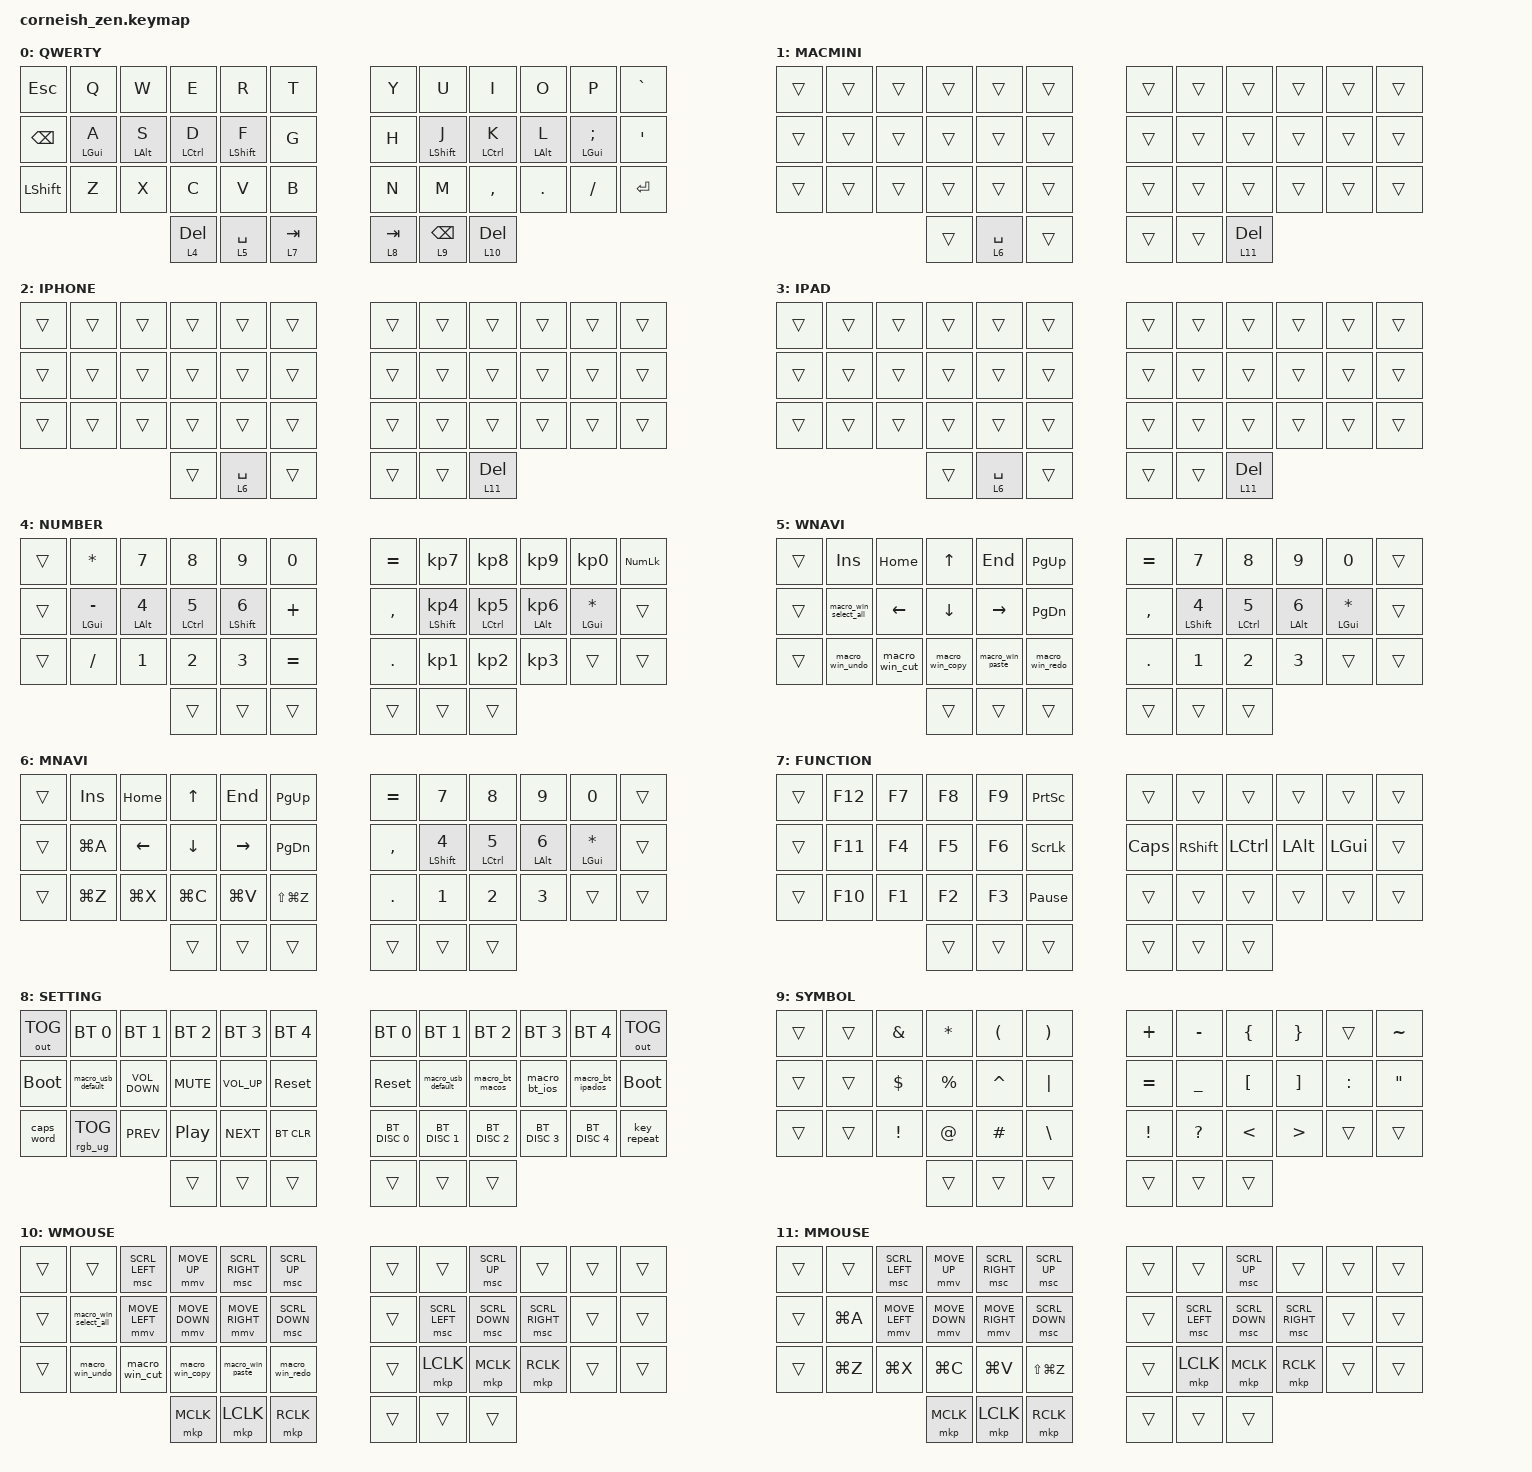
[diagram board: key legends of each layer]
#define ZMK_POINTING_DEFAULT_MOVE_VAL 4200  // default: 600
#define ZMK_POINTING_DEFAULT_SCRL_VAL 30    // default: 10

#include <input/processors.dtsi>
#include <behaviors.dtsi>
#include <dt-bindings/zmk/bt.h>
#include <dt-bindings/zmk/keys.h>
#include <dt-bindings/zmk/outputs.h>
#include <dt-bindings/zmk/pointing.h>
#include <dt-bindings/zmk/rgb.h>

#define COMBO_DEFAULT_TIMEOUT_MS 15
#define COMBO_QUICK_TIMEOUT_MS 10
#define COMBO_PRIOR_IDLE_MS 125

&mmv {
    acceleration-exponent = <1>;      // 1
    time-to-max-speed-ms = <500>;     // 300
    delay-ms = <0>;                   // 0
};

&msc {
    acceleration-exponent = <1>;      // 0
    time-to-max-speed-ms = <40>;      // 300
    delay-ms = <0>;                   // 0
};

/ {
    behaviors {
        ltkp: ltkp {
            compatible = "zmk,behavior-hold-tap";
            #binding-cells = <2>;
            bindings = <&mo>, <&kp>;

            flavor = "tap-preferred";
            tapping-term-ms = <300>;
            quick-tap-ms = <300>;
            require-prior-idle-ms = <125>;
        };

        hrml: hrml {
            compatible = "zmk,behavior-hold-tap";
            bindings = <&kp>, <&kp>;

            #binding-cells = <2>;
            tapping-term-ms = <250>;
            flavor = "tap-preferred";
            hold-trigger-key-positions = <6 7 8 9 10 11 18 19 20 21 22 23 30 31 32 33 34 35 39 40 41>;
            quick-tap-ms = <175>;
            require-prior-idle-ms = <150>;
            hold-trigger-on-release;
        };

        hrmr: hrmr {
            compatible = "zmk,behavior-hold-tap";
            bindings = <&kp>, <&kp>;

            #binding-cells = <2>;
            tapping-term-ms = <250>;
            flavor = "balanced";
            quick-tap-ms = <175>;
            require-prior-idle-ms = <150>;
            hold-trigger-on-release;
            hold-trigger-key-positions = <0 1 2 3 4 5 12 13 14 15 16 17 24 25 26 27 28 29 36 37 38>;
        };
    };

    combos {
        compatible = "zmk,combos";

        combo_mouse {
            bindings = <&tog 10>;
            key-positions = <0 24>;
            timeout-ms = <COMBO_DEFAULT_TIMEOUT_MS>;
            require-prior-idle-ms = <COMBO_PRIOR_IDLE_MS>;
        };

        combo_settings {
            bindings = <&tog 8>;
            key-positions = <5 29>;
            timeout-ms = <COMBO_DEFAULT_TIMEOUT_MS>;
            require-prior-idle-ms = <COMBO_PRIOR_IDLE_MS>;
        };

        combo_enter {
            bindings = <&kp ENTER>;
            key-positions = <15 16>;
            timeout-ms = <COMBO_DEFAULT_TIMEOUT_MS>;
            require-prior-idle-ms = <COMBO_PRIOR_IDLE_MS>;
        };

        combo_less_than {
            bindings = <&kp LT>;
            key-positions = <26 27>;
            timeout-ms = <COMBO_DEFAULT_TIMEOUT_MS>;
            require-prior-idle-ms = <COMBO_PRIOR_IDLE_MS>;
        };

        combo_greater_than {
            bindings = <&kp GT>;
            key-positions = <27 28>;
            timeout-ms = <COMBO_DEFAULT_TIMEOUT_MS>;
            require-prior-idle-ms = <COMBO_PRIOR_IDLE_MS>;
        };
    };

    macros {
        macro_usb_default: macro_usb_default {
            compatible = "zmk,behavior-macro";
            #binding-cells = <0>;
            bindings = <&to 0 &bt BT_SEL 0 &out OUT_USB>;
        };

        macro_bt_macos: macro_bt_macos {
            compatible = "zmk,behavior-macro";
            #binding-cells = <0>;
            bindings = <&to 0 &tog 1 &bt BT_SEL 2 &out OUT_BLE>;
        };

        macro_bt_ios: macro_bt_ios {
            compatible = "zmk,behavior-macro";
            #binding-cells = <0>;
            bindings = <&to 0 &tog 2 &bt BT_SEL 3 &out OUT_BLE>;
        };

        macro_bt_ipados: macro_bt_ipados {
            compatible = "zmk,behavior-macro";
            #binding-cells = <0>;
            bindings = <&to 0 &tog 3 &bt BT_SEL 4 &out OUT_BLE>;
        };

        macro_win_select_all: macro_win_select_all {
            compatible = "zmk,behavior-macro";
            #binding-cells = <0>;
            bindings =
                <&macro_press>,
                <&kp LCTRL>,
                <&macro_tap>,
                <&kp A>,
                <&macro_release>,
                <&kp LCTRL>;
        };

        macro_win_undo: macro_win_undo {
            compatible = "zmk,behavior-macro";
            #binding-cells = <0>;
            bindings =
                <&macro_press>,
                <&kp LCTRL>,
                <&macro_tap>,
                <&kp Z>,
                <&macro_release>,
                <&kp LCTRL>;
        };

        macro_win_cut: macro_win_cut {
            compatible = "zmk,behavior-macro";
            #binding-cells = <0>;
            bindings =
                <&macro_press>,
                <&kp LCTRL>,
                <&macro_tap>,
                <&kp X>,
                <&macro_release>,
                <&kp LCTRL>;
        };

        macro_win_copy: macro_win_copy {
            compatible = "zmk,behavior-macro";
            #binding-cells = <0>;
            bindings =
                <&macro_press>,
                <&kp LCTRL>,
                <&macro_tap>,
                <&kp C>,
                <&macro_release>,
                <&kp LCTRL>;
        };

        macro_win_paste: macro_win_paste {
            compatible = "zmk,behavior-macro";
            #binding-cells = <0>;
            bindings =
                <&macro_press>,
                <&kp LCTRL>,
                <&macro_tap>,
                <&kp V>,
                <&macro_release>,
                <&kp LCTRL>;
        };

        macro_win_redo: macro_win_redo {
            compatible = "zmk,behavior-macro";
            #binding-cells = <0>;
            bindings =
                <&macro_press>,
                <&kp LCTRL>,
                <&macro_tap>,
                <&kp Y>,
                <&macro_release>,
                <&kp LCTRL>;
        };
    };

    keymap {
        compatible = "zmk,keymap";

        win_base_layer {
            bindings = <
&kp ESC    &kp Q         &kp W         &kp E          &kp R          &kp T          &kp Y        &kp U          &kp I          &kp O         &kp P            &kp GRAVE
&kp BSPC   &hrml LGUI A  &hrml LALT S  &hrml LCTRL D  &hrml LSHFT F  &kp G          &kp H        &hrmr LSHFT J  &hrmr LCTRL K  &hrmr LALT L  &hrmr LGUI SEMI  &kp APOS
&kp LSHFT  &kp Z         &kp X         &kp C          &kp V          &kp B          &kp N        &kp M          &kp COMMA      &kp DOT       &kp FSLH         &kp ENTER
                                       &ltkp 4 DEL    &ltkp 5 SPACE  &ltkp 7 TAB    &ltkp 8 TAB  &ltkp 9 BSPC   &ltkp 10 DEL
            >;

            display-name = "QWERTY";
        };

        mac_base_layer {
            bindings = <
&trans  &trans  &trans  &trans  &trans         &trans    &trans  &trans  &trans        &trans  &trans  &trans
&trans  &trans  &trans  &trans  &trans         &trans    &trans  &trans  &trans        &trans  &trans  &trans
&trans  &trans  &trans  &trans  &trans         &trans    &trans  &trans  &trans        &trans  &trans  &trans
                        &trans  &ltkp 6 SPACE  &trans    &trans  &trans  &ltkp 11 DEL
            >;

            display-name = "MACMINI";
        };

        iphone_base_layer {
            bindings = <
&trans  &trans  &trans  &trans  &trans         &trans    &trans  &trans  &trans        &trans  &trans  &trans
&trans  &trans  &trans  &trans  &trans         &trans    &trans  &trans  &trans        &trans  &trans  &trans
&trans  &trans  &trans  &trans  &trans         &trans    &trans  &trans  &trans        &trans  &trans  &trans
                        &trans  &ltkp 6 SPACE  &trans    &trans  &trans  &ltkp 11 DEL
            >;

            display-name = "IPHONE";
        };

        ipad_base_layer {
            bindings = <
&trans  &trans  &trans  &trans  &trans         &trans    &trans  &trans  &trans        &trans  &trans  &trans
&trans  &trans  &trans  &trans  &trans         &trans    &trans  &trans  &trans        &trans  &trans  &trans
&trans  &trans  &trans  &trans  &trans         &trans    &trans  &trans  &trans        &trans  &trans  &trans
                        &trans  &ltkp 6 SPACE  &trans    &trans  &trans  &ltkp 11 DEL
            >;

            display-name = "IPAD";
        };

        number_layer {
            bindings = <
&trans  &kp ASTRK         &kp N7         &kp N8          &kp N9          &kp N0       &kp EQUAL  &kp KP_N7          &kp KP_N8          &kp KP_N9         &kp KP_N0         &kp KP_NUM
&trans  &hrml LGUI MINUS  &hrml LALT N4  &hrml LCTRL N5  &hrml LSHFT N6  &kp PLUS     &kp COMMA  &hrmr LSHFT KP_N4  &hrmr LCTRL KP_N5  &hrmr LALT KP_N6  &hrmr LGUI ASTRK  &trans
&trans  &kp SLASH         &kp N1         &kp N2          &kp N3          &kp EQUAL    &kp DOT    &kp KP_N1          &kp KP_N2          &kp KP_N3         &trans            &trans
                                         &trans          &trans          &trans       &trans     &trans             &trans
            >;

            display-name = "NUMBER";
        };

        win_navi_layer {
            bindings = <
&trans  &kp INS                &kp HOME        &kp UP           &kp END           &kp PG_UP          &kp EQUAL  &kp N7          &kp N8          &kp N9         &kp N0            &trans
&trans  &macro_win_select_all  &kp LEFT        &kp DOWN         &kp RIGHT         &kp PG_DN          &kp COMMA  &hrmr LSHFT N4  &hrmr LCTRL N5  &hrmr LALT N6  &hrmr LGUI ASTRK  &trans
&trans  &macro_win_undo        &macro_win_cut  &macro_win_copy  &macro_win_paste  &macro_win_redo    &kp DOT    &kp N1          &kp N2          &kp N3         &trans            &trans
                                               &trans           &trans            &trans             &trans     &trans          &trans
            >;

            display-name = "WNAVI";
        };

        mac_navi_layer {
            bindings = <
&trans  &kp INS    &kp HOME   &kp UP     &kp END    &kp PG_UP        &kp EQUAL  &kp N7          &kp N8          &kp N9         &kp N0            &trans
&trans  &kp LG(A)  &kp LEFT   &kp DOWN   &kp RIGHT  &kp PG_DN        &kp COMMA  &hrmr LSHFT N4  &hrmr LCTRL N5  &hrmr LALT N6  &hrmr LGUI ASTRK  &trans
&trans  &kp LG(Z)  &kp LG(X)  &kp LG(C)  &kp LG(V)  &kp LS(LG(Z))    &kp DOT    &kp N1          &kp N2          &kp N3         &trans            &trans
                              &trans     &trans     &trans           &trans     &trans          &trans
            >;

            display-name = "MNAVI";
        };

        fkeys_layer {
            bindings = <
&trans  &kp F12  &kp F7  &kp F8  &kp F9  &kp PSCRN          &trans    &trans      &trans     &trans    &trans    &trans
&trans  &kp F11  &kp F4  &kp F5  &kp F6  &kp SLCK           &kp CAPS  &kp RSHIFT  &kp LCTRL  &kp LALT  &kp LGUI  &trans
&trans  &kp F10  &kp F1  &kp F2  &kp F3  &kp PAUSE_BREAK    &trans    &trans      &trans     &trans    &trans    &trans
                         &trans  &trans  &trans             &trans    &trans      &trans
            >;

            display-name = "FUNCTION";
        };

        settings_layer {
            bindings = <
&out OUT_TOG  &bt BT_SEL 0        &bt BT_SEL 1       &bt BT_SEL 2      &bt BT_SEL 3     &bt BT_SEL 4    &bt BT_SEL 0   &bt BT_SEL 1        &bt BT_SEL 2     &bt BT_SEL 3   &bt BT_SEL 4      &out OUT_TOG
&bootloader   &macro_usb_default  &kp C_VOLUME_DOWN  &kp C_MUTE        &kp C_VOLUME_UP  &sys_reset      &sys_reset     &macro_usb_default  &macro_bt_macos  &macro_bt_ios  &macro_bt_ipados  &bootloader
&caps_word    &rgb_ug RGB_TOG     &kp C_PREV         &kp C_PLAY_PAUSE  &kp C_NEXT       &bt BT_CLR      &bt BT_DISC 0  &bt BT_DISC 1       &bt BT_DISC 2    &bt BT_DISC 3  &bt BT_DISC 4     &key_repeat
                                                     &trans            &trans           &trans          &trans         &trans              &trans
            >;

            display-name = "SETTING";
        };

        sym_layer {
            bindings = <
&trans  &trans  &kp AMPS    &kp ASTRK  &kp LPAR   &kp RPAR    &kp PLUS   &kp MINUS  &kp LBRC  &kp RBRC  &trans     &kp TILDE
&trans  &trans  &kp DOLLAR  &kp PRCNT  &kp CARET  &kp PIPE    &kp EQUAL  &kp UNDER  &kp LBKT  &kp RBKT  &kp COLON  &kp DQT
&trans  &trans  &kp EXCL    &kp AT     &kp HASH   &kp BSLH    &kp EXCL   &kp QMARK  &kp LT    &kp GT    &trans     &trans
                            &trans     &trans     &trans      &trans     &trans     &trans
            >;

            display-name = "SYMBOL";
        };

        win_mouse_layer {
            bindings = <
&trans  &trans                 &msc SCRL_LEFT  &mmv MOVE_UP     &msc SCRL_RIGHT   &msc SCRL_UP       &trans  &trans          &msc SCRL_UP    &trans           &trans  &trans
&trans  &macro_win_select_all  &mmv MOVE_LEFT  &mmv MOVE_DOWN   &mmv MOVE_RIGHT   &msc SCRL_DOWN     &trans  &msc SCRL_LEFT  &msc SCRL_DOWN  &msc SCRL_RIGHT  &trans  &trans
&trans  &macro_win_undo        &macro_win_cut  &macro_win_copy  &macro_win_paste  &macro_win_redo    &trans  &mkp LCLK       &mkp MCLK       &mkp RCLK        &trans  &trans
                                               &mkp MCLK        &mkp LCLK         &mkp RCLK          &trans  &trans          &trans
            >;

            display-name = "WMOUSE";
        };

        mac_mouse_layer {
            bindings = <
&trans  &trans     &msc SCRL_LEFT  &mmv MOVE_UP    &msc SCRL_RIGHT  &msc SCRL_UP      &trans  &trans          &msc SCRL_UP    &trans           &trans  &trans
&trans  &kp LG(A)  &mmv MOVE_LEFT  &mmv MOVE_DOWN  &mmv MOVE_RIGHT  &msc SCRL_DOWN    &trans  &msc SCRL_LEFT  &msc SCRL_DOWN  &msc SCRL_RIGHT  &trans  &trans
&trans  &kp LG(Z)  &kp LG(X)       &kp LG(C)       &kp LG(V)        &kp LS(LG(Z))     &trans  &mkp LCLK       &mkp MCLK       &mkp RCLK        &trans  &trans
                                   &mkp MCLK       &mkp LCLK        &mkp RCLK         &trans  &trans          &trans
            >;

            display-name = "MMOUSE";
        };
    };
};
